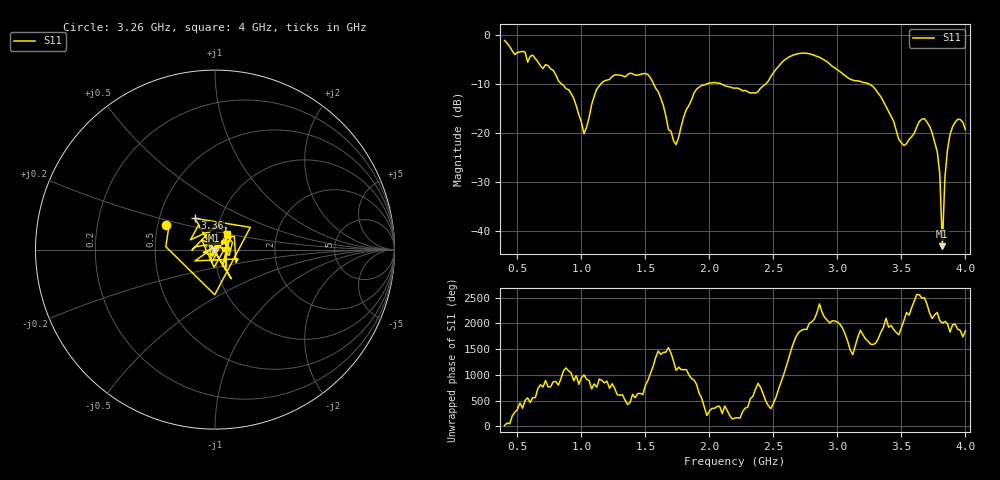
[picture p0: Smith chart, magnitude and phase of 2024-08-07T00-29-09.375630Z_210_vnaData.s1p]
!Created with skrf (http://scikit-rf.org).
# Hz S RI R 50.0
!freq ReS11 ImS11
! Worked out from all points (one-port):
!   181 points, 400 MHz to 4 GHz, reference 50 ohm
!   lowest |S11| = -43.1 dB at 3.82 GHz (marker M1), VSWR 1.01, Z = 49.4 - j0.303 ohm
!   |S11| at or under -10 dB: 1.564 GHz to 1.983 GHz (419.1 MHz wide, 23.6 % of centre); 2.089 GHz to 2.442 GHz (352.3 MHz wide, 15.6 % of centre); 3.242 GHz to end of sweep (the widest 3 of 4)
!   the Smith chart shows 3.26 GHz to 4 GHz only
!   S11 on the Smith chart (normalised r, x): 3.26 GHz: 0.55, +0.17; 3.36 GHz: 0.75, +0.28; 4 GHz: 1.12, +0.19
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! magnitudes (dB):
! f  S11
! 400 MHz  -1.2
! 860 MHz  -10.3
! 940 MHz  -13.0
! 1.02 GHz  -20.2
! 1.12 GHz  -11.1
! 1.3 GHz  -8.3
! 1.52 GHz  -8.1
! 1.62 GHz  -12.9
! 1.72 GHz  -21.6
! 1.76 GHz  -20.9
! 1.9 GHz  -11.1
! 2.2 GHz  -10.9
! 2.36 GHz  -11.9
! 2.66 GHz  -4.1
! 2.86 GHz  -4.6
! 3.1 GHz  -9.1
! 3.26 GHz  -10.2
! 3.36 GHz  -13.7
! 3.48 GHz  -21.4
! 3.56 GHz  -21.4
! 3.66 GHz  -17.2
! 3.74 GHz  -20.0
! 3.8 GHz  -28.3
! 3.82 GHz  -43.1
! 3.84 GHz  -29.1
! 3.88 GHz  -20.3
! 3.94 GHz  -17.3
! 4 GHz  -19.3
